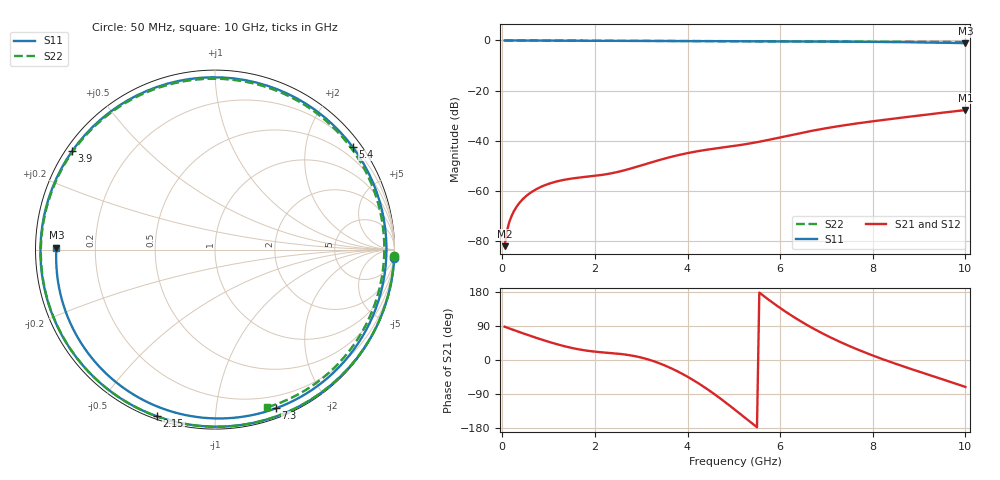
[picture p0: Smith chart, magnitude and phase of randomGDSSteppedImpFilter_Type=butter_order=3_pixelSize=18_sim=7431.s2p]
! freq	dB(S11)	phase(S11)	dB(S12)	phase(S12)
!  dB(S21)	phase(S21)	dB(S22)	phase(S22)
!S-par simulation data
#  GHz  S  DB  R 50
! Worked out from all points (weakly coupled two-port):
!   200 points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, 50 MHz to 10 GHz, reference 50 ohm
!   highest |S21| = -27.76 dB at 10 GHz (marker M1); lowest = -82.0 dB at 50 MHz (marker M2)
!   lowest |S11| = -1.1 dB at 10 GHz (marker M3), VSWR 16.14, Z = 3.1 + j0.305 ohm
!   |S11| at or under -10 dB: nowhere
!   |S22| runs from -0.7 to 0.0 dB; largest |S21 - S12| = 0
!   S11 on the Smith chart (normalised r, x): 50 MHz: 0, -45; 2.15 GHz: 0.01, -0.71; 3.9 GHz: 0.02, +0.31; 5.4 GHz: 0.22, +3.01; 7.3 GHz: 0.08, -1.45; 10 GHz: 0.06, +0.01
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0.05  -0.00 -2.5  -82.02 87.8  -82.02 87.8  -0.00 -2.0
0.15  -0.01 -7.6  -72.50 83.4  -72.50 83.4  -0.01 -5.9
0.25  -0.02 -12.6  -68.10 79.0  -68.10 79.0  -0.01 -9.7
0.55  -0.03 -27.6  -61.53 66.1  -61.53 66.1  -0.02 -21.4
1.2  -0.07 -60.3  -56.10 41.0  -56.10 41.0  -0.06 -46.3
1.75  -0.11 -88.3  -54.49 26.0  -54.49 26.0  -0.09 -67.0
2.15  -0.14 -109.2  -53.61 20.2  -53.61 20.2  -0.10 -81.9
2.85  -0.20 -147.9  -50.66 10.5  -50.66 10.5  -0.14 -107.7
3.4  -0.24 178.7  -47.63 -9.0  -47.63 -9.0  -0.17 -128.1
3.9  -0.29 145.4  -45.31 -37.4  -45.31 -37.4  -0.20 -147.1
4.5  -0.34 102.2  -43.34 -83.1  -43.34 -83.1  -0.24 -170.8
4.75  -0.36 83.6  -42.70 -105.4  -42.70 -105.4  -0.26 178.8
5.05  -0.37 61.5  -41.94 -133.8  -41.94 -133.8  -0.29 166.0
5.4  -0.38 36.6  -40.90 -167.8  -40.90 -167.8  -0.32 150.3
5.7  -0.39 16.4  -39.83 163.8  -39.83 163.8  -0.35 136.2
6  -0.40 -2.4  -38.66 137.2  -38.66 137.2  -0.38 121.5
6.7  -0.42 -41.0  -35.98 84.2  -35.98 84.2  -0.43 85.0
7.3  -0.47 -69.0  -34.06 47.4  -34.06 47.4  -0.46 52.4
7.85  -0.54 -92.0  -32.60 19.0  -32.60 19.0  -0.49 22.9
8.35  -0.62 -111.6  -31.41 -3.8  -31.41 -3.8  -0.51 -2.5
9.2  -0.82 -144.9  -29.48 -38.8  -29.48 -38.8  -0.57 -40.9
10  -1.08 179.3  -27.76 -71.1  -27.76 -71.1  -0.67 -71.6
